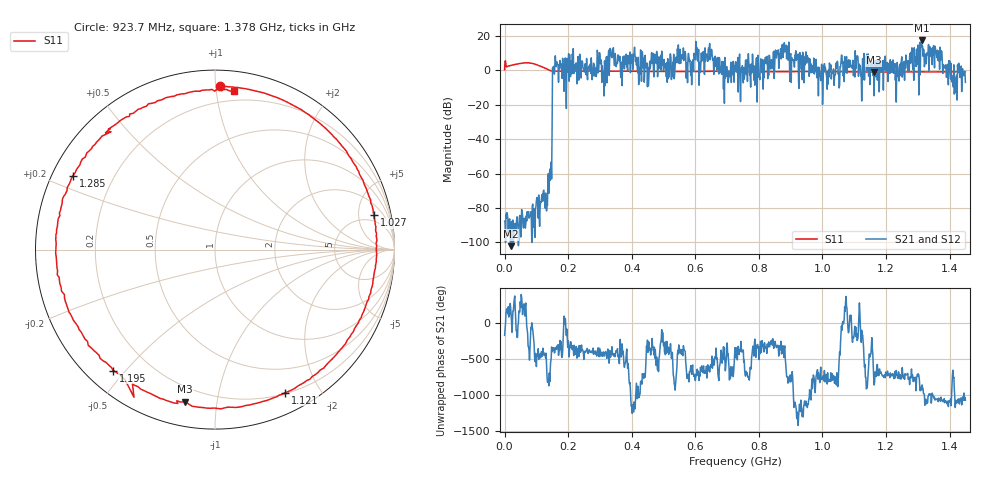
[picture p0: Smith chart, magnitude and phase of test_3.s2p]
! Created with skrf 1.11.0 (http://scikit-rf.org).
# Hz S RI R 50.0
!freq ReS11 ImS11 ReS21 ImS21 ReS12 ImS12 ReS22 ImS22
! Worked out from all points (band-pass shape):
!   1001 points, 50 kHz to 1.45 GHz, reference 50 ohm
!   highest |S21| = 17.23 dB at 1.312 GHz (marker M1); lowest = -102.1 dB at 18.9 MHz (marker M2)
!   |S21| within 3 dB of the highest: 546.5907 MHz to 546.7854 MHz (194.6 kHz wide, 0.0356 % of centre); 872.8152 MHz to 874.4944 MHz (1.679 MHz wide, 0.192 % of centre) (the widest 2 of 11)
!   lowest |S11| = -1.3 dB at 1.161 GHz (marker M3), VSWR 13.69, Z = 6.11 - j40.8 ohm
!   |S11| at or under -10 dB: nowhere
!   |S22| runs from - to - dB; largest |S21 - S12| = 0
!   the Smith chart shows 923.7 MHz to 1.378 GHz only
!   S11 on the Smith chart (normalised r, x): 923.7 MHz: 0.10, +1.02; 1.027 GHz: 3.59, +7.68; 1.121 GHz: 0.21, -1.58; 1.195 GHz: 0.08, -0.46; 1.285 GHz: 0.06, +0.24; 1.378 GHz: 0.13, +1.12
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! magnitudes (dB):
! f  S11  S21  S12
! 50 kHz  0.2  -87.7  -87.7
! 18.9 MHz  2.7  -102.1  -102.1
! 127.6 MHz  1.1  -80.1  -80.1
! 140.7 MHz  0.0  -64.6  -64.6
! 158.1 MHz  -0.7  2.5  2.5
! 242.2 MHz  -0.6  4.4  4.4
! 484.3 MHz  -0.7  4.5  4.5
! 645.3 MHz  -0.7  15.4  15.4
! 725 MHz  -0.7  -0.5  -0.5
! 878.7 MHz  -0.9  11.8  11.8
! 923.7 MHz  -0.8  9.4  9.4
! 967.2 MHz  -0.8  -1.5  -1.5
! 1.027 GHz  -0.9  3.1  3.1
! 1.121 GHz  -1.0  -3.6  -3.6
! 1.161 GHz  -1.3  0.6  0.6
! 1.195 GHz  -1.1  0.4  0.4
! 1.209 GHz  -1.1  4.0  4.0
! 1.285 GHz  -1.0  0.5  0.5
! 1.312 GHz  -1.0  17.2  17.2
! 1.378 GHz  -1.0  4.6  4.6
! 1.417 GHz  -1.0  -8.2  -8.2
! 1.45 GHz  -0.9  -7.1  -7.1
